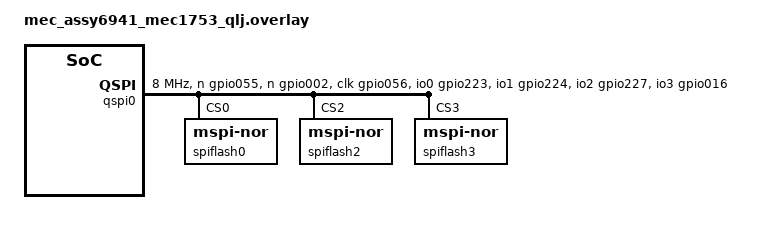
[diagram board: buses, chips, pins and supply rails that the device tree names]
/*
 * Copyright (c) 2026 Microchip Technology Inc.
 *
 * SPDX-License-Identifier: Apache-2.0
 */

/ {
	aliases {
		flash0 = &spiflash0;
		/* flash1 = &spiflash1; */
		flash2 = &spiflash2;
		flash3 = &spiflash3;
	};
};

&qspi0 {
	compatible = "microchip,xec-qspi-mspi";
/*	compatible = "microchip,xec-qmspi-mspi"; AI generated, many mistakes */
	clock-frequency = <DT_FREQ_M(8)>;
	op-mode = "MSPI_OP_MODE_CONTROLLER";
	duplex = "MSPI_HALF_DUPLEX";
	software-multiperipheral;
	pinctrl-0 = <&qspi_shd_cs0_n_gpio055 &qspi_shd_cs1_n_gpio002
		     &qspi_shd_clk_gpio056 &qspi_shd_io0_gpio223
		     &qspi_shd_io1_gpio224 &qspi_shd_io2_gpio227
		     &qspi_shd_io3_gpio016>;
	pinctrl-names = "default";

	/* num-periph = <4>; microchip,xec-qmspi-mspi.yaml */

	num-hw-ce = <2>; /* microchip,xec-qspi-mspi.yaml */

	ce-gpios = <0>,
		   <MCHP_GPIO_DECODE_020 GPIO_ACTIVE_LOW>,
		   <MCHP_GPIO_DECODE_044 GPIO_ACTIVE_LOW>;

	status = "okay";

	spiflash0: qspi-nor-flash@0 {
		compatible = "jedec,mspi-nor";
		reg = <0>;

		size = <DT_SIZE_M(128)>;
		mspi-max-frequency = <8000000>;
		mspi-io-mode = "MSPI_IO_MODE_QUAD_1_4_4";
		mspi-data-rate = "MSPI_DATA_RATE_SINGLE";
		mspi-hardware-ce-num = <0>;
		read-command = <0xeb>;
		write-command = <0x38>;
		command-length = "INSTR_1_BYTE";
		address-length = "ADDR_3_BYTE";
		tx-dummy = <0>;
		rx-dummy = <6>;
		jedec-id = [18 60 ef];
	};
/*
	spiflash1: qspi-nor-flash@1 {
		compatible = "jedec,mspi-nor";
		reg = <1>;

		size = <DT_SIZE_M(128)>;
		mspi-max-frequency = <8000000>;
		mspi-io-mode = "MSPI_IO_MODE_QUAD_1_4_4";
		mspi-data-rate = "MSPI_DATA_RATE_SINGLE";
		mspi-hardware-ce-num = <1>;
		read-command = <0xeb>;
		write-command = <0x38>;
		command-length = "INSTR_1_BYTE";
		address-length = "ADDR_3_BYTE";
		tx-dummy = <0>;
		rx-dummy = <6>;
		jedec-id = [18 60 ef];
	};
*/
	/* W25Q128FW 128 megabit 1.8V SPI flash */
	spiflash2: qspi-nor-flash@2 {
		compatible = "jedec,mspi-nor";
		reg = <2>;

		size = <DT_SIZE_M(128)>;
		mspi-max-frequency = <8000000>;
		mspi-io-mode = "MSPI_IO_MODE_QUAD_1_4_4";
		mspi-data-rate = "MSPI_DATA_RATE_SINGLE";
		read-command = <0xeb>;
		write-command = <0x38>;
		command-length = "INSTR_1_BYTE";
		address-length = "ADDR_3_BYTE";
		tx-dummy = <0>;
		rx-dummy = <6>;
		jedec-id = [18 60 ef];
	};

	/* W25Q128FW 128 megabit 1.8V SPI flash */
	spiflash3: qspi-nor-flash@3 {
		compatible = "jedec,mspi-nor";
		reg = <3>;

		size = <DT_SIZE_M(128)>;
		mspi-max-frequency = <8000000>;
		mspi-io-mode = "MSPI_IO_MODE_QUAD_1_4_4";
		mspi-data-rate = "MSPI_DATA_RATE_SINGLE";
		read-command = <0xeb>;
		write-command = <0x38>;
		command-length = "INSTR_1_BYTE";
		address-length = "ADDR_3_BYTE";
		tx-dummy = <0>;
		rx-dummy = <6>;
		jedec-id = [18 60 ef];
	};
};
